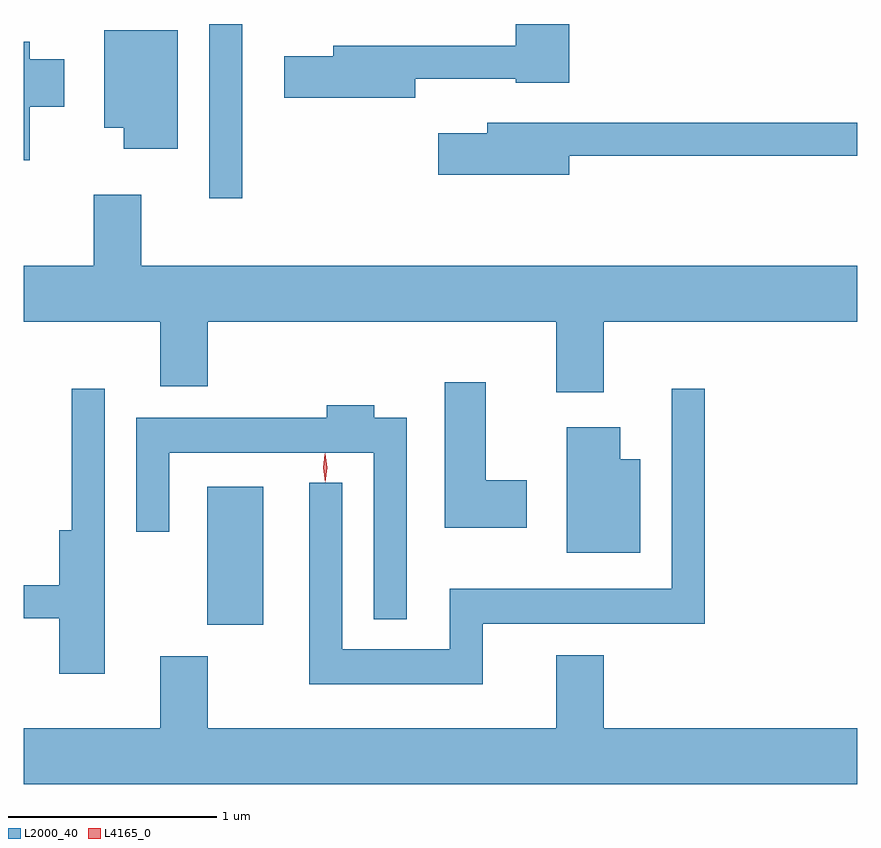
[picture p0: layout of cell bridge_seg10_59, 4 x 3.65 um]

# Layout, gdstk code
import gdstk
lib = gdstk.Library(unit=1e-6, precision=1e-09)
def R(c, l, rs):  # rectangles x0, y0, x1, y1
    for r in rs: c.add(gdstk.rectangle(r[:2], r[2:], *l))
def P(c, l, *ps):  # polygons
    for p in ps: c.add(gdstk.Polygon(p, *l))
L2000_40 = (2000, 40)
L4165_0 = (4165, 0)

bridge_seg10_59 = lib.new_cell('bridge_seg10_59')
R(bridge_seg10_59, L2000_40, [(1587.226,2216.801,1587.494,2217.464), (1587.236,2218.848,1587.394,2219.684)])
P(bridge_seg10_59, L2000_40, [(1588.224,2219.421),(1588.706,2219.421),(1588.706,2219.401),(1588.964,2219.401),(1588.964,2219.684),(1588.706,2219.684),(1588.706,2219.579),(1587.831,2219.579),(1587.831,2219.529),(1587.596,2219.529),(1587.596,2219.331),(1588.224,2219.331)],
  [(1587.084,2219.654),(1586.731,2219.654),(1586.731,2219.186),(1586.826,2219.186),(1586.826,2219.086),(1587.084,2219.086)],
  [(1586.374,2219.286),(1586.539,2219.286),(1586.539,2219.514),(1586.374,2219.514),(1586.374,2219.599),(1586.346,2219.599),(1586.346,2219.031),(1586.374,2219.031)],
  [(1588.964,2219.051),(1590.346,2219.051),(1590.346,2219.209),(1588.571,2219.209),(1588.571,2219.159),(1588.336,2219.159),(1588.336,2218.961),(1588.964,2218.961)],
  [(1589.129,2218.256),(1590.346,2218.256),(1590.346,2218.524),(1586.909,2218.524),(1586.909,2218.864),(1586.681,2218.864),(1586.681,2218.524),(1586.346,2218.524),(1586.346,2218.256),(1587.001,2218.256),(1587.001,2217.946),(1587.229,2217.946),(1587.229,2218.256),(1588.901,2218.256),(1588.901,2217.916),(1589.129,2217.916)],
  [(1588.759,2217.494),(1588.564,2217.494),(1588.564,2217.964),(1588.366,2217.964),(1588.366,2217.266),(1588.759,2217.266)],
  [(1588.549,2216.806),(1589.614,2216.806),(1589.614,2217.933),(1589.456,2217.933),(1589.456,2216.974),(1588.391,2216.974),(1588.391,2216.684),(1587.874,2216.684),(1587.874,2217.483),(1587.716,2217.483),(1587.716,2216.516),(1588.549,2216.516)],
  [(1586.734,2217.933),(1586.576,2217.933),(1586.576,2217.254),(1586.516,2217.254),(1586.516,2216.989),(1586.346,2216.989),(1586.346,2216.831),(1586.516,2216.831),(1586.516,2216.566),(1586.734,2216.566)],
  [(1588.184,2217.794),(1588.029,2217.794),(1588.029,2217.854),(1587.801,2217.854),(1587.801,2217.794),(1586.886,2217.794),(1586.886,2217.248),(1587.044,2217.248),(1587.044,2217.626),(1588.026,2217.626),(1588.026,2216.828),(1588.184,2216.828)],
  [(1589.304,2217.594),(1589.209,2217.594),(1589.209,2217.749),(1588.951,2217.749),(1588.951,2217.146),(1589.304,2217.146)],
  [(1590.346,2216.304),(1589.129,2216.304),(1589.129,2216.654),(1588.901,2216.654),(1588.901,2216.304),(1587.229,2216.304),(1587.229,2216.649),(1587.001,2216.649),(1587.001,2216.304),(1586.346,2216.304),(1586.346,2216.036),(1590.346,2216.036)])
P(bridge_seg10_59, L4165_0, [(1587.792,2217.484),(1587.792,2217.484),(1587.782,2217.553),(1587.792,2217.622),(1587.792,2217.623),(1587.793,2217.622),(1587.802,2217.553),(1587.793,2217.484)],
  [(1587.792,2217.487),(1587.792,2217.488),(1587.782,2217.554),(1587.791,2217.62),(1587.792,2217.62),(1587.792,2217.62),(1587.802,2217.554),(1587.793,2217.488)])

lib.write_gds('bridge_seg10_59.gds')
